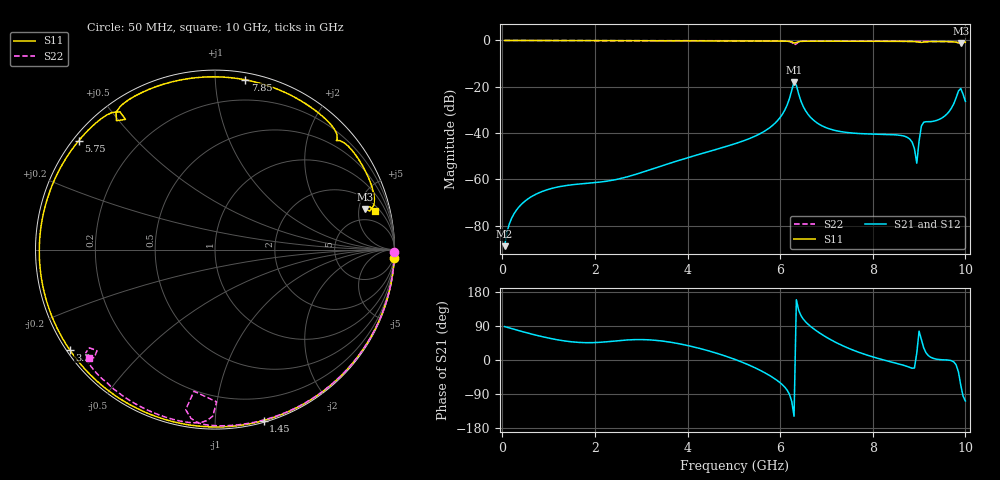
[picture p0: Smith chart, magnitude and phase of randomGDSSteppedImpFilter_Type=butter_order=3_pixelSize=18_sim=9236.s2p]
! freq	dB(S11)	phase(S11)	dB(S12)	phase(S12)
!  dB(S21)	phase(S21)	dB(S22)	phase(S22)
!S-par simulation data
#  GHz  S  DB  R 50
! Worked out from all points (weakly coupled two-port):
!   200 points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, 50 MHz to 10 GHz, reference 50 ohm
!   highest |S21| = -17.96 dB at 6.3 GHz (marker M1); lowest = -88.8 dB at 50 MHz (marker M2)
!   lowest |S11| = -1.2 dB at 9.9 GHz (marker M3), VSWR 13.98, Z = 159 + j290 ohm
!   |S11| at or under -10 dB: nowhere
!   |S22| runs from -2.0 to 0.0 dB; largest |S21 - S12| = 0
!   S11 on the Smith chart (normalised r, x): 50 MHz: 0, -42; 1.45 GHz: 0.01, -1.32; 3.3 GHz: 0.01, -0.31; 5.75 GHz: 0.02, +0.35; 7.85 GHz: 0.05, +1.19; 10 GHz: 2.67, +7.35
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0.05  -0.00 -2.7  -88.84 88.2  -88.84 88.2  -0.00 -0.8
0.6  -0.04 -32.2  -67.81 69.5  -67.81 69.5  -0.01 -9.8
1.45  -0.09 -74.1  -62.46 48.7  -62.46 48.7  -0.03 -23.6
1.75  -0.10 -87.5  -61.83 45.9  -61.83 45.9  -0.04 -28.4
3.3  -0.15 -145.5  -55.11 52.0  -55.11 52.0  -0.07 -52.4
3.4  -0.15 -148.8  -54.45 50.8  -54.45 50.8  -0.07 -54.0
5.05  -0.21 161.6  -44.43 0.4  -44.43 0.4  -0.12 -78.2
5.75  -0.25 141.4  -38.03 -39.3  -38.03 -39.3  -0.16 -88.4
6.1  -0.30 130.5  -30.06 -71.6  -30.06 -71.6  -0.25 -94.8
6.3  -1.11 124.5  -17.96 -148.5  -17.96 -148.5  -1.97 -98.4
6.35  -0.88 127.4  -19.31 159.1  -19.31 159.1  -1.43 -89.4
6.5  -0.35 121.8  -28.58 107.8  -28.58 107.8  -0.32 -94.3
6.7  -0.31 115.2  -34.04 84.5  -34.04 84.5  -0.23 -98.5
7.85  -0.35 79.9  -40.33 14.0  -40.33 14.0  -0.27 -114.5
8.35  -0.37 64.0  -40.60 -3.6  -40.60 -3.6  -0.32 -121.0
8.8  -0.42 49.0  -42.63 -19.6  -42.63 -19.6  -0.36 -126.8
8.9  -0.49 45.3  -46.73 -21.2  -46.73 -21.2  -0.38 -128.1
8.95  -0.58 43.4  -52.99 18.3  -52.99 18.3  -0.40 -128.7
9.05  -0.83 41.9  -36.98 54.5  -36.98 54.5  -0.40 -129.8
9.6  -0.51 23.6  -31.80 0.0  -31.80 0.0  -0.47 -137.6
9.9  -1.24 15.2  -20.75 -66.4  -20.75 -66.4  -1.25 -139.4
10  -0.75 13.7  -26.33 -108.1  -26.33 -108.1  -0.67 -139.2
